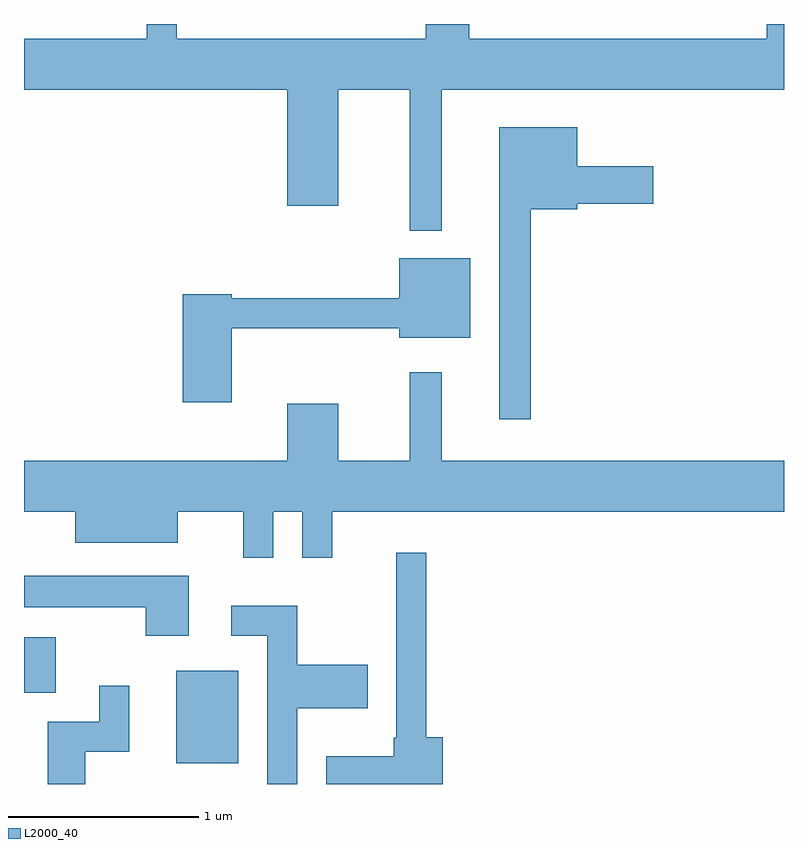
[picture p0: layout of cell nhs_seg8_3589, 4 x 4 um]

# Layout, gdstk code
import gdstk
lib = gdstk.Library(unit=1e-6, precision=1e-09)
def R(c, l, rs):  # rectangles x0, y0, x1, y1
    for r in rs: c.add(gdstk.rectangle(r[:2], r[2:], *l))
def P(c, l, *ps):  # polygons
    for p in ps: c.add(gdstk.Polygon(p, *l))
L2000_40 = (2000, 40)

nhs_seg8_3589 = lib.new_cell('nhs_seg8_3589')
R(nhs_seg8_3589, L2000_40, [(294.411,1808.451,294.739,1808.939), (293.611,1808.821,293.779,1809.114)])
P(nhs_seg8_3589, L2000_40, [(295.809,1811.996),(297.611,1811.996),(297.611,1812.342),(297.521,1812.342),(297.521,1812.264),(295.954,1812.264),(295.954,1812.342),(295.726,1812.342),(295.726,1812.264),(294.414,1812.264),(294.414,1812.342),(294.256,1812.342),(294.256,1812.264),(293.611,1812.264),(293.611,1811.996),(294.996,1811.996),(294.996,1811.386),(295.264,1811.386),(295.264,1811.996),(295.641,1811.996),(295.641,1811.253),(295.809,1811.253)],
  [(296.279,1811.366),(296.524,1811.366),(296.524,1811.396),(296.924,1811.396),(296.924,1811.594),(296.524,1811.594),(296.524,1811.799),(296.111,1811.799),(296.111,1810.263),(296.279,1810.263)],
  [(294.704,1810.741),(295.586,1810.741),(295.586,1810.691),(295.959,1810.691),(295.959,1811.109),(295.586,1811.109),(295.586,1810.899),(294.704,1810.899),(294.704,1810.919),(294.446,1810.919),(294.446,1810.351),(294.704,1810.351)],
  [(294.924,1809.776),(295.076,1809.776),(295.076,1809.533),(295.234,1809.533),(295.234,1809.776),(297.611,1809.776),(297.611,1810.044),(295.809,1810.044),(295.809,1810.508),(295.641,1810.508),(295.641,1810.044),(295.264,1810.044),(295.264,1810.344),(294.996,1810.344),(294.996,1810.044),(293.611,1810.044),(293.611,1809.776),(293.881,1809.776),(293.881,1809.611),(294.419,1809.611),(294.419,1809.776),(294.766,1809.776),(294.766,1809.533),(294.924,1809.533)],
  [(295.814,1808.589),(295.729,1808.589),(295.729,1809.558),(295.571,1809.558),(295.571,1808.585),(295.556,1808.585),(295.556,1808.489),(295.201,1808.489),(295.201,1808.342),(295.814,1808.342)],
  [(294.479,1809.439),(293.611,1809.439),(293.611,1809.271),(294.251,1809.271),(294.251,1809.121),(294.479,1809.121)],
  [(295.049,1808.741),(295.419,1808.741),(295.419,1808.969),(295.049,1808.969),(295.049,1809.279),(294.703,1809.279),(294.703,1809.121),(294.891,1809.121),(294.891,1808.342),(295.049,1808.342)],
  [(293.934,1808.511),(294.164,1808.511),(294.164,1808.858),(294.006,1808.858),(294.006,1808.669),(293.736,1808.669),(293.736,1808.342),(293.934,1808.342)])

lib.write_gds('nhs_seg8_3589.gds')
